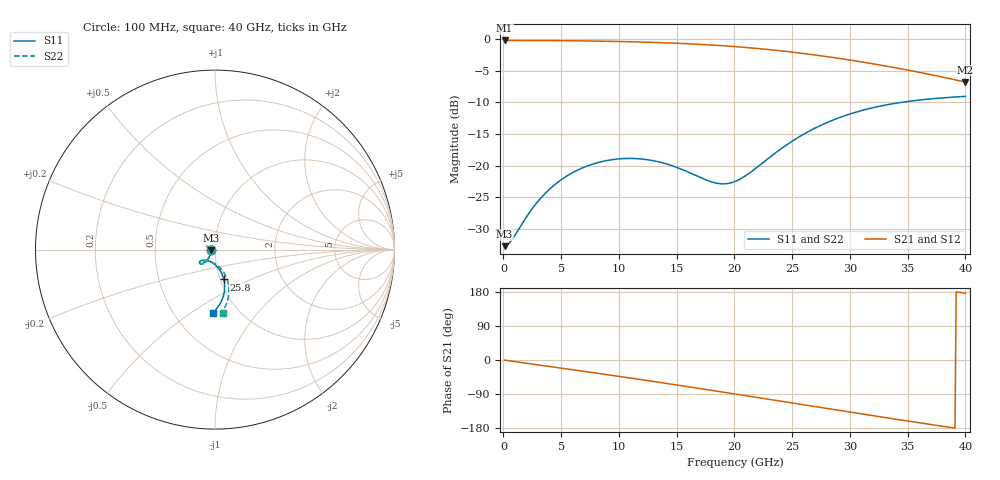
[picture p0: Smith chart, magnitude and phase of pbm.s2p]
! E_s8_L1L8_p1000_round_g0: reduced via model, differential mode (per line 50 ohm)
# Hz S RI R 50
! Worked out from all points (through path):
!   400 points, 100 MHz to 40 GHz, reference 50 ohm
!   highest |S21| = -0.20 dB at 100 MHz (marker M1); lowest = -6.8 dB at 40 GHz (marker M2)
!   group delay of S21, straight-line fit = 12.9 ps
!   lowest |S11| = -32.7 dB at 100 MHz (marker M3), VSWR 1.05, Z = 47.7 - j0.14 ohm
!   |S11| at or under -10 dB: start of sweep to 34.4 GHz
!   |S22| runs from -32.7 to -9.0 dB; largest |S21 - S12| = 0
!   S11 on the Smith chart (normalised r, x): 100 MHz: 0.95, -0.00; 25.8 GHz: 1.04, -0.36; 40 GHz: 0.76, -0.62
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1e8  -0.0231 -0.00147  0.9769 -0.00726  0.9769 -0.00726  -0.0231 -0.00147
7e8  -0.0236 -0.0102  0.9755 -0.0508  0.9755 -0.0508  -0.0236 -0.0103
2.4e9  -0.0292 -0.0338  0.9606 -0.1733  0.9606 -0.1733  -0.0289 -0.0341
3.6e9  -0.0362 -0.0483  0.9401 -0.2583  0.9401 -0.2583  -0.0355 -0.0488
5.1e9  -0.0473 -0.0629  0.9031 -0.3614  0.9031 -0.3614  -0.046 -0.0638
6.8e9  -0.0612 -0.0737  0.8463 -0.4723  0.8463 -0.4723  -0.0593 -0.0753
8.4e9  -0.0735 -0.0781  0.7788 -0.5689  0.7788 -0.5689  -0.0709 -0.0805
1e10  -0.0827 -0.0775  0.6987 -0.6563  0.6987 -0.6563  -0.0796 -0.0807
1.17e10  -0.0871 -0.0729  0.6009 -0.7366  0.6009 -0.7366  -0.0838 -0.0767
1.34e10  -0.0847 -0.0663  0.4914 -0.802  0.4914 -0.802  -0.0811 -0.0706
1.59e10  -0.0677 -0.0592  0.3143 -0.8659  0.3143 -0.8659  -0.0639 -0.0632
1.83e10  -0.0389 -0.0622  0.1345 -0.8861  0.1345 -0.8861  -0.0344 -0.0648
1.92e10  -0.0263 -0.0671  0.0669 -0.8826  0.0669 -0.8826  -0.0212 -0.0689
2.01e10  -0.0133 -0.0742  0.000211 -0.873  0.000211 -0.873  -0.00744 -0.0751
2.11e10  0.00103 -0.0849  -0.0719 -0.8553  -0.0719 -0.8553  0.00795 -0.0847
2.28e10  0.0232 -0.1093  -0.1872 -0.8093  -0.1872 -0.8093  0.0327 -0.107
2.58e10  0.049 -0.1663  -0.3578 -0.6865  -0.3578 -0.6865  0.0653 -0.1608
2.67e10  0.0525 -0.1851  -0.3989 -0.6419  -0.3989 -0.6419  0.0712 -0.1789
3e10  0.0488 -0.2516  -0.5052 -0.4611  -0.5052 -0.4611  0.0773 -0.2445
3.34e10  0.0267 -0.3043  -0.5435 -0.27  -0.5435 -0.27  0.0653 -0.2985
3.65e10  0.0044 -0.3341  -0.5243 -0.1121  -0.5243 -0.1121  0.0509 -0.3303
4e10  -0.0104 -0.3532  -0.4569 0.031  -0.4569 0.031  0.0436 -0.3506
